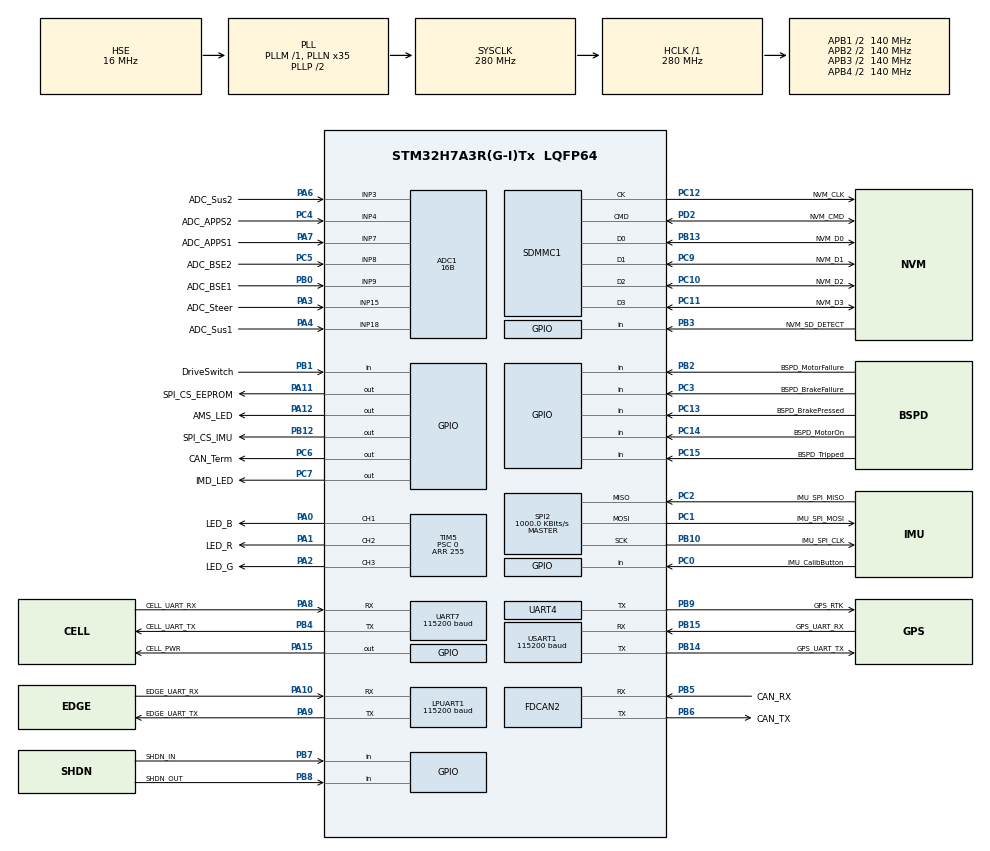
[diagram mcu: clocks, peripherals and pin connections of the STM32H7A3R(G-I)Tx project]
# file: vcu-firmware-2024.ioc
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ADC1.Channel-2\#ChannelRegularConversion=ADC_CHANNEL_7
ADC1.Channel-3\#ChannelRegularConversion=ADC_CHANNEL_4
ADC1.Channel-4\#ChannelRegularConversion=ADC_CHANNEL_9
ADC1.Channel-5\#ChannelRegularConversion=ADC_CHANNEL_8
ADC1.Channel-6\#ChannelRegularConversion=ADC_CHANNEL_15
ADC1.Channel-7\#ChannelRegularConversion=ADC_CHANNEL_18
ADC1.Channel-8\#ChannelRegularConversion=ADC_CHANNEL_3
ADC1.ClockPrescaler=ADC_CLOCK_ASYNC_DIV32
ADC1.ContinuousConvMode=ENABLE
ADC1.ConversionDataManagement=ADC_CONVERSIONDATA_DMA_CIRCULAR
ADC1.EOCSelection=ADC_EOC_SEQ_CONV
ADC1.NbrOfConversion=7
ADC1.NbrOfConversionFlag=1
ADC1.OffsetNumber-2\#ChannelRegularConversion=ADC_OFFSET_NONE
ADC1.OffsetNumber-3\#ChannelRegularConversion=ADC_OFFSET_NONE
ADC1.OffsetNumber-4\#ChannelRegularConversion=ADC_OFFSET_NONE
ADC1.OffsetNumber-5\#ChannelRegularConversion=ADC_OFFSET_NONE
ADC1.OffsetNumber-6\#ChannelRegularConversion=ADC_OFFSET_NONE
ADC1.OffsetNumber-7\#ChannelRegularConversion=ADC_OFFSET_NONE
ADC1.OffsetNumber-8\#ChannelRegularConversion=ADC_OFFSET_NONE
ADC1.OffsetSignedSaturation-2\#ChannelRegularConversion=DISABLE
ADC1.OffsetSignedSaturation-3\#ChannelRegularConversion=DISABLE
ADC1.OffsetSignedSaturation-4\#ChannelRegularConversion=DISABLE
ADC1.OffsetSignedSaturation-5\#ChannelRegularConversion=DISABLE
ADC1.OffsetSignedSaturation-6\#ChannelRegularConversion=DISABLE
ADC1.OffsetSignedSaturation-7\#ChannelRegularConversion=DISABLE
ADC1.OffsetSignedSaturation-8\#ChannelRegularConversion=DISABLE
ADC1.Overrun=ADC_OVR_DATA_PRESERVED
ADC1.OversamplingMode=ENABLE
ADC1.Rank-2\#ChannelRegularConversion=1
ADC1.Rank-3\#ChannelRegularConversion=2
ADC1.Rank-4\#ChannelRegularConversion=3
ADC1.Rank-5\#ChannelRegularConversion=4
ADC1.Rank-6\#ChannelRegularConversion=5
ADC1.Rank-7\#ChannelRegularConversion=6
ADC1.Rank-8\#ChannelRegularConversion=7
ADC1.Ratio=16
ADC1.Resolution=ADC_RESOLUTION_16B
ADC1.RightBitShift=ADC_RIGHTBITSHIFT_4
ADC1.SamplingTime-2\#ChannelRegularConversion=ADC_SAMPLETIME_1CYCLE_5
ADC1.SamplingTime-3\#ChannelRegularConversion=ADC_SAMPLETIME_1CYCLE_5
ADC1.SamplingTime-4\#ChannelRegularConversion=ADC_SAMPLETIME_1CYCLE_5
ADC1.SamplingTime-5\#ChannelRegularConversion=ADC_SAMPLETIME_1CYCLE_5
ADC1.SamplingTime-6\#ChannelRegularConversion=ADC_SAMPLETIME_1CYCLE_5
ADC1.SamplingTime-7\#ChannelRegularConversion=ADC_SAMPLETIME_1CYCLE_5
ADC1.SamplingTime-8\#ChannelRegularConversion=ADC_SAMPLETIME_1CYCLE_5
ADC1.master=1
Dma.ADC1.0.Direction=DMA_PERIPH_TO_MEMORY
Dma.ADC1.0.EventEnable=DISABLE
Dma.ADC1.0.FIFOMode=DMA_FIFOMODE_DISABLE
Dma.ADC1.0.Instance=DMA1_Stream0
Dma.ADC1.0.MemDataAlignment=DMA_MDATAALIGN_HALFWORD
Dma.ADC1.0.MemInc=DMA_MINC_ENABLE
Dma.ADC1.0.Mode=DMA_CIRCULAR
Dma.ADC1.0.PeriphDataAlignment=DMA_PDATAALIGN_HALFWORD
Dma.ADC1.0.PeriphInc=DMA_PINC_DISABLE
Dma.ADC1.0.Polarity=HAL_DMAMUX_REQ_GEN_RISING
Dma.ADC1.0.Priority=DMA_PRIORITY_LOW
Dma.ADC1.0.RequestNumber=1
Dma.ADC1.0.SignalID=NONE
Dma.ADC1.0.SyncEnable=DISABLE
Dma.ADC1.0.SyncPolarity=HAL_DMAMUX_SYNC_NO_EVENT
Dma.ADC1.0.SyncRequestNumber=1
Dma.ADC1.0.SyncSignalID=NONE
Dma.Request0=ADC1
Dma.Request1=USART1_RX
Dma.Request2=UART4_TX
Dma.Request3=UART7_RX
Dma.Request4=UART7_TX
Dma.UART4_TX.2.Direction=DMA_MEMORY_TO_PERIPH
Dma.UART4_TX.2.EventEnable=DISABLE
Dma.UART4_TX.2.FIFOMode=DMA_FIFOMODE_DISABLE
Dma.UART4_TX.2.Instance=DMA1_Stream2
Dma.UART4_TX.2.MemDataAlignment=DMA_MDATAALIGN_BYTE
Dma.UART4_TX.2.MemInc=DMA_MINC_ENABLE
Dma.UART4_TX.2.Mode=DMA_NORMAL
Dma.UART4_TX.2.PeriphDataAlignment=DMA_PDATAALIGN_BYTE
Dma.UART4_TX.2.PeriphInc=DMA_PINC_DISABLE
Dma.UART4_TX.2.Polarity=HAL_DMAMUX_REQ_GEN_RISING
Dma.UART4_TX.2.Priority=DMA_PRIORITY_LOW
Dma.UART4_TX.2.RequestNumber=1
Dma.UART4_TX.2.SignalID=NONE
Dma.UART4_TX.2.SyncEnable=DISABLE
Dma.UART4_TX.2.SyncPolarity=HAL_DMAMUX_SYNC_NO_EVENT
Dma.UART4_TX.2.SyncRequestNumber=1
Dma.UART4_TX.2.SyncSignalID=NONE
Dma.UART7_RX.3.Direction=DMA_PERIPH_TO_MEMORY
Dma.UART7_RX.3.EventEnable=DISABLE
Dma.UART7_RX.3.FIFOMode=DMA_FIFOMODE_DISABLE
Dma.UART7_RX.3.Instance=DMA1_Stream3
Dma.UART7_RX.3.MemDataAlignment=DMA_MDATAALIGN_BYTE
Dma.UART7_RX.3.MemInc=DMA_MINC_ENABLE
Dma.UART7_RX.3.Mode=DMA_NORMAL
Dma.UART7_RX.3.PeriphDataAlignment=DMA_PDATAALIGN_BYTE
Dma.UART7_RX.3.PeriphInc=DMA_PINC_DISABLE
Dma.UART7_RX.3.Polarity=HAL_DMAMUX_REQ_GEN_RISING
Dma.UART7_RX.3.Priority=DMA_PRIORITY_LOW
Dma.UART7_RX.3.RequestNumber=1
Dma.UART7_RX.3.SignalID=NONE
Dma.UART7_RX.3.SyncEnable=DISABLE
Dma.UART7_RX.3.SyncPolarity=HAL_DMAMUX_SYNC_NO_EVENT
Dma.UART7_RX.3.SyncRequestNumber=1
Dma.UART7_RX.3.SyncSignalID=NONE
Dma.UART7_TX.4.Direction=DMA_MEMORY_TO_PERIPH
Dma.UART7_TX.4.EventEnable=DISABLE
Dma.UART7_TX.4.FIFOMode=DMA_FIFOMODE_DISABLE
Dma.UART7_TX.4.Instance=DMA1_Stream4
Dma.UART7_TX.4.MemDataAlignment=DMA_MDATAALIGN_BYTE
Dma.UART7_TX.4.MemInc=DMA_MINC_ENABLE
Dma.UART7_TX.4.Mode=DMA_NORMAL
Dma.UART7_TX.4.PeriphDataAlignment=DMA_PDATAALIGN_BYTE
Dma.UART7_TX.4.PeriphInc=DMA_PINC_DISABLE
Dma.UART7_TX.4.Polarity=HAL_DMAMUX_REQ_GEN_RISING
Dma.UART7_TX.4.Priority=DMA_PRIORITY_LOW
Dma.UART7_TX.4.RequestNumber=1
Dma.UART7_TX.4.SignalID=NONE
Dma.UART7_TX.4.SyncEnable=DISABLE
Dma.UART7_TX.4.SyncPolarity=HAL_DMAMUX_SYNC_NO_EVENT
Dma.UART7_TX.4.SyncRequestNumber=1
Dma.UART7_TX.4.SyncSignalID=NONE
Dma.USART1_RX.1.Direction=DMA_PERIPH_TO_MEMORY
Dma.USART1_RX.1.EventEnable=DISABLE
Dma.USART1_RX.1.FIFOMode=DMA_FIFOMODE_DISABLE
Dma.USART1_RX.1.Instance=DMA1_Stream1
Dma.USART1_RX.1.MemDataAlignment=DMA_MDATAALIGN_BYTE
Dma.USART1_RX.1.MemInc=DMA_MINC_ENABLE
Dma.USART1_RX.1.Mode=DMA_NORMAL
Dma.USART1_RX.1.PeriphDataAlignment=DMA_PDATAALIGN_BYTE
Dma.USART1_RX.1.PeriphInc=DMA_PINC_DISABLE
Dma.USART1_RX.1.Polarity=HAL_DMAMUX_REQ_GEN_RISING
Dma.USART1_RX.1.Priority=DMA_PRIORITY_LOW
Dma.USART1_RX.1.RequestNumber=1
Dma.USART1_RX.1.SignalID=NONE
Dma.USART1_RX.1.SyncEnable=DISABLE
Dma.USART1_RX.1.SyncPolarity=HAL_DMAMUX_SYNC_NO_EVENT
Dma.USART1_RX.1.SyncRequestNumber=1
Dma.USART1_RX.1.SyncSignalID=NONE
FATFS.BSP.number=1
FATFS.USE_DMA_CODE_SD=0
FATFS._FS_EXFAT=1
FATFS._STRF_ENCODE=0
FATFS._USE_LFN=1
FATFS0.BSP.STBoard=false
FATFS0.BSP.api=Unknown
FATFS0.BSP.instance=PB3
FATFS0.BSP.ip=GPIO
FATFS0.BSP.mode=Input
FATFS0.BSP.name=Detect_SDIO
FATFS0.BSP.solution=PB3
FDCAN2.AutoRetransmission=DISABLE
FDCAN2.CalculateBaudRateNominal=1000000
FDCAN2.CalculateTimeBitNominal=1000
FDCAN2.CalculateTimeQuantumNominal=62.5
FDCAN2.ClockCalibrationCCU=DISABLE
FDCAN2.DataSyncJumpWidth=3
FDCAN2.DataTimeSeg1=13
FDCAN2.DataTimeSeg2=2
FDCAN2.NominalPrescaler=1
FDCAN2.NominalSyncJumpWidth=3
FDCAN2.NominalTimeSeg1=13
FDCAN2.NominalTimeSeg2=2
FDCAN2.RxFifo0ElmtsNbr=64
FDCAN2.TxFifoQueueElmtsNbr=16
LPUART1.BaudRate=115200
Mcu.Family=STM32H7
Mcu.Name=STM32H7A3R(G-I)Tx
Mcu.Package=LQFP64
NVIC.DMA1_Stream0_IRQn=true\:0\:0\:false\:false\:true\:false\:true\:true
NVIC.DMA1_Stream1_IRQn=true\:0\:0\:false\:false\:true\:false\:true\:true
NVIC.DMA1_Stream2_IRQn=true\:0\:0\:false\:false\:true\:false\:true\:true
NVIC.DMA1_Stream3_IRQn=true\:0\:0\:false\:false\:true\:false\:true\:true
NVIC.DMA1_Stream4_IRQn=true\:0\:0\:false\:false\:true\:false\:true\:true
NVIC.PriorityGroup=NVIC_PRIORITYGROUP_4
NVIC.SDMMC1_IRQn=true\:0\:0\:false\:false\:true\:true\:true\:true
NVIC.UART4_IRQn=true\:0\:0\:false\:false\:true\:true\:true\:true
NVIC.UART7_IRQn=true\:0\:0\:false\:false\:true\:true\:true\:true
NVIC.USART1_IRQn=true\:0\:0\:false\:false\:true\:true\:true\:true
PA0.GPIO_Label=LED_B
PA0.GPIO_ModeDefaultPP=GPIO_MODE_AF_OD
PA0.Signal=S_TIM5_CH1
PA1.GPIO_Label=LED_R
PA1.GPIO_ModeDefaultPP=GPIO_MODE_AF_OD
PA1.Signal=S_TIM5_CH2
PA10.GPIO_Label=EDGE_UART_RX
PA10.Mode=Asynchronous
PA10.Signal=LPUART1_RX
PA11.GPIO_Label=SPI_CS_EEPROM
PA11.GPIO_Speed=GPIO_SPEED_FREQ_VERY_HIGH
PA11.PinState=GPIO_PIN_SET
PA11.Signal=GPIO_Output
PA12.GPIO_Label=AMS_LED
PA12.Signal=GPIO_Output
PA13.GPIO_Label=JTMS
PA13.Mode=Serial_Wire
PA13.Signal=DEBUG_JTMS-SWDIO
PA14.GPIO_Label=JTCK
PA14.Mode=Serial_Wire
PA14.Signal=DEBUG_JTCK-SWCLK
PA15.GPIO_Label=CELL_PWR
PA15.PinState=GPIO_PIN_SET
PA15.Signal=GPIO_Output
PA2.GPIO_Label=LED_G
PA2.GPIO_ModeDefaultPP=GPIO_MODE_AF_OD
PA2.Signal=S_TIM5_CH3
PA3.GPIO_Label=ADC_Steer
PA3.Mode=IN15-Single-Ended
PA3.Signal=ADC1_INP15
PA4.GPIO_Label=ADC_Sus1
PA4.Signal=ADCx_INP18
PA6.GPIO_Label=ADC_Sus2
PA6.Signal=ADCx_INP3
PA7.GPIO_Label=ADC_APPS1
PA7.Signal=ADCx_INP7
PA8.GPIO_Label=CELL_UART_RX
PA8.GPIO_PuPd=GPIO_NOPULL
PA8.GPIO_Speed=GPIO_SPEED_FREQ_VERY_HIGH
PA8.Mode=Asynchronous
PA8.Signal=UART7_RX
PA9.GPIO_Label=EDGE_UART_TX
PA9.Mode=Asynchronous
PA9.Signal=LPUART1_TX
PB0.GPIO_Label=ADC_BSE1
PB0.Signal=ADCx_INP9
PB1.GPIO_Label=DriveSwitch
PB1.GPIO_PuPd=GPIO_PULLUP
PB1.Signal=GPIO_Input
PB10.GPIO_Label=IMU_SPI_CLK
PB10.Mode=Full_Duplex_Master
PB10.Signal=SPI2_SCK
PB12.GPIO_Label=SPI_CS_IMU
PB12.GPIO_Speed=GPIO_SPEED_FREQ_VERY_HIGH
PB12.PinState=GPIO_PIN_SET
PB12.Signal=GPIO_Output
PB13.GPIO_Label=NVM_D0
PB13.GPIO_PuPd=GPIO_PULLUP
PB13.Mode=SD_4_bits_Wide_bus
PB13.Signal=SDMMC1_D0
PB14.GPIO_Label=GPS_UART_TX
PB14.Mode=Asynchronous
PB14.Signal=USART1_TX
PB15.GPIO_Label=GPS_UART_RX
PB15.Mode=Asynchronous
PB15.Signal=USART1_RX
PB2.GPIO_Label=BSPD_MotorFailure
PB2.Signal=GPIO_Input
PB3.GPIO_Label=NVM_SD_DETECT
PB3.Signal=GPIO_Input
PB4.GPIO_Label=CELL_UART_TX
PB4.GPIO_PuPd=GPIO_NOPULL
PB4.GPIO_Speed=GPIO_SPEED_FREQ_VERY_HIGH
PB4.Mode=Asynchronous
PB4.Signal=UART7_TX
PB5.GPIO_Label=CAN_RX
PB5.Mode=FDCAN_Activate
PB5.Signal=FDCAN2_RX
PB6.GPIO_Label=CAN_TX
PB6.Mode=FDCAN_Activate
PB6.Signal=FDCAN2_TX
PB7.GPIO_Label=SHDN_IN
PB7.Signal=GPIO_Input
PB8.GPIO_Label=SHDN_OUT
PB8.Signal=GPIO_Input
PB9.GPIO_Label=GPS_RTK
PB9.Mode=Half_duplex(single_wire_mode)
PB9.Signal=UART4_TX
PC0.GPIO_Label=IMU_CalibButton
PC0.Signal=GPIO_Input
PC1.GPIO_Label=IMU_SPI_MOSI
PC1.Mode=Full_Duplex_Master
PC1.Signal=SPI2_MOSI
PC10.GPIO_Label=NVM_D2
PC10.GPIO_PuPd=GPIO_PULLUP
PC10.Mode=SD_4_bits_Wide_bus
PC10.Signal=SDMMC1_D2
PC11.GPIO_Label=NVM_D3
PC11.GPIO_PuPd=GPIO_PULLUP
PC11.Mode=SD_4_bits_Wide_bus
PC11.Signal=SDMMC1_D3
PC12.GPIO_Label=NVM_CLK
PC12.GPIO_PuPd=GPIO_PULLUP
PC12.Mode=SD_4_bits_Wide_bus
PC12.Signal=SDMMC1_CK
PC13.GPIO_Label=BSPD_BrakePressed
PC13.Signal=GPIO_Input
PC14-OSC32_IN.GPIO_Label=BSPD_MotorOn
PC14-OSC32_IN.Signal=GPIO_Input
PC15-OSC32_OUT.GPIO_Label=BSPD_Tripped
PC15-OSC32_OUT.Signal=GPIO_Input
PC2.GPIO_Label=IMU_SPI_MISO
PC2.Mode=Full_Duplex_Master
PC2.Signal=SPI2_MISO
PC3.GPIO_Label=BSPD_BrakeFailure
PC3.Signal=GPIO_Input
PC4.GPIO_Label=ADC_APPS2
PC4.Signal=ADCx_INP4
PC5.GPIO_Label=ADC_BSE2
PC5.Signal=ADCx_INP8
PC6.GPIO_Label=CAN_Term
PC6.Signal=GPIO_Output
PC7.GPIO_Label=IMD_LED
PC7.Signal=GPIO_Output
PC9.GPIO_Label=NVM_D1
PC9.GPIO_PuPd=GPIO_PULLUP
PC9.Mode=SD_4_bits_Wide_bus
PC9.Signal=SDMMC1_D1
PD2.GPIO_Label=NVM_CMD
PD2.GPIO_PuPd=GPIO_PULLUP
PD2.Mode=SD_4_bits_Wide_bus
PD2.Signal=SDMMC1_CMD
PH0-OSC_IN.Mode=HSE-External-Oscillator
PH0-OSC_IN.Signal=RCC_OSC_IN
PH1-OSC_OUT.Mode=HSE-External-Oscillator
PH1-OSC_OUT.Signal=RCC_OSC_OUT
ProjectManager.HeapSize=0x400
ProjectManager.StackSize=0x800
ProjectManager.TargetToolchain=STM32CubeIDE
RCC.ADCCLockSelection=RCC_ADCCLKSOURCE_PLL3
RCC.ADCFreq_Value=32000000
RCC.APB1Freq_Value=140000000
RCC.APB2Freq_Value=140000000
RCC.APB3Freq_Value=140000000
RCC.APB4Freq_Value=140000000
RCC.CDPPRE=RCC_APB3_DIV2
RCC.CDPPRE1=RCC_APB1_DIV2
RCC.CDPPRE2=RCC_APB2_DIV2
RCC.CortexFreq_Value=280000000
RCC.DIVM1=1
RCC.DIVM2=10
RCC.DIVM3=1
RCC.DIVN1=35
RCC.DIVN2=288
RCC.DIVN3=8
RCC.DIVP2=125
RCC.DIVQ2=125
RCC.DIVR1=35
RCC.DIVR3=4
RCC.FDCANCLockSelection=RCC_FDCANCLKSOURCE_HSE
RCC.HCLKFreq_Value=280000000
RCC.HSE_Timout=100
RCC.HSE_VALUE=16000000
RCC.HSIDiv=RCC_PLLSAIDIVR_4
RCC.LPUART1CLockSelection=RCC_LPUART1CLKSOURCE_PLL2
RCC.PLL2FRACN=0
RCC.PLL3FRACN=0
RCC.PLLFRACN=0
RCC.PLLSourceVirtual=RCC_PLLSOURCE_HSE
RCC.SPI123CLockSelection=RCC_SPI123CLKSOURCE_PLL3
RCC.SRDPPRE=RCC_APB4_DIV2
RCC.SYSCLKFreq_VALUE=280000000
RCC.SYSCLKSource=RCC_SYSCLKSOURCE_PLLCLK
RCC.SupplySource=PWR_LDO_SUPPLY
RCC.USART234578CLockSelection=RCC_USART234578CLKSOURCE_PLL2
RCC.USBFreq_Value=280000000
RCC.VDD_VALUE=3
SDMMC1.ClockDiv=28
SDMMC1.HardwareFlowControl=SDMMC_HARDWARE_FLOW_CONTROL_DISABLE
SH.ADCx_INP18.0=ADC1_INP18,IN18-Single-Ended
SH.ADCx_INP3.0=ADC1_INP3,IN3-Single-Ended
SH.ADCx_INP4.0=ADC1_INP4,IN4-Single-Ended
SH.ADCx_INP7.0=ADC1_INP7,IN7-Single-Ended
SH.ADCx_INP8.0=ADC1_INP8,IN8-Single-Ended
SH.ADCx_INP9.0=ADC1_INP9,IN9-Single-Ended
SH.S_TIM5_CH1.0=TIM5_CH1,PWM Generation1 CH1
SH.S_TIM5_CH2.0=TIM5_CH2,PWM Generation2 CH2
SH.S_TIM5_CH3.0=TIM5_CH3,PWM Generation3 CH3
SPI2.BaudRatePrescaler=SPI_BAUDRATEPRESCALER_64
SPI2.CLKPhase=SPI_PHASE_2EDGE
SPI2.CLKPolarity=SPI_POLARITY_HIGH
SPI2.CalculateBaudRate=1000.0 KBits/s
SPI2.DataSize=SPI_DATASIZE_8BIT
SPI2.Direction=SPI_DIRECTION_2LINES
SPI2.Mode=SPI_MODE_MASTER
SPI2.VirtualType=VM_MASTER
TIM2.AutoReloadPreload=TIM_AUTORELOAD_PRELOAD_ENABLE
TIM2.Period=1000
TIM2.Prescaler=280
TIM5.Channel-PWM\ Generation1\ CH1=TIM_CHANNEL_1
TIM5.Channel-PWM\ Generation2\ CH2=TIM_CHANNEL_2
TIM5.Channel-PWM\ Generation3\ CH3=TIM_CHANNEL_3
TIM5.OCPolarity_1=TIM_OCPOLARITY_LOW
TIM5.OCPolarity_2=TIM_OCPOLARITY_LOW
TIM5.OCPolarity_3=TIM_OCPOLARITY_LOW
TIM5.Period=255
TIM5.Prescaler=0
TIM5.Pulse-PWM\ Generation1\ CH1=0
UART4.Mode=MODE_TX
UART7.BaudRate=115200
UART7.ClockPrescaler=PRESCALER_DIV1
UART7.OneBitSampling=UART_ONE_BIT_SAMPLE_DISABLE
UART7.OverSampling=UART_OVERSAMPLING_8
UART7.RxPinLevelInvertParam=UART_ADVFEATURE_RXINV_DISABLE
UART7.TxPinLevelInvertParam=UART_ADVFEATURE_TXINV_DISABLE
USART1.BaudRate=115200
USART1.ClockPrescaler=PRESCALER_DIV1
USART1.OverrunDisableParam=ADVFEATURE_OVERRUN_DISABLE
USART1.SwapParam=ADVFEATURE_SWAP_DISABLE
USART1.VirtualMode-Asynchronous=VM_ASYNC
VP_FATFS_VS_SDIO.Mode=SDIO
VP_TIM2_VS_ClockSourceINT.Mode=Internal
VP_TIM5_VS_ClockSourceINT.Mode=Internal
board=custom

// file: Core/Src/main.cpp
/* USER CODE BEGIN Header */
/**
  ******************************************************************************
  * @file           : main.c
  * @brief          : Main program body
  ******************************************************************************
  * @attention
  *
  * Copyright (c) 2023 STMicroelectronics.
  * All rights reserved.
  *
  * This software is licensed under terms that can be found in the LICENSE file
  * in the root directory of this software component.
  * If no LICENSE file comes with this software, it is provided AS-IS.
  *
  ******************************************************************************
  */
/* USER CODE END Header */
#include "main.h"
#include "adc.h"
#include "dma.h"
#include "fatfs.h"
#include "fdcan.h"
#include "usart.h"
#include "sdmmc.h"
#include "spi.h"
#include "tim.h"
#include "gpio.h"

/* USER CODE BEGIN Includes */
#include "LonghornLib/clock.h"
#include "LonghornLib/led.h"
#include "inverter.h"
#include "LonghornLib/faults.h"
#include "gps.h"
#include "LonghornLib/angel_can.h"
#include "cellular.h"
#include "pdu.h"
#include "hvc.h"
#include "dash.h"
#include "drive_switch.h"
#include "indicators.h"
#include "all_imus.h"
#include "wheelspeeds.h"
#include "nvm.h"
#include "vcu.h"
#include "usb.h"
#include "bevo.h"

/* USER CODE END Includes */

void SystemClock_Config(void);
void PeriphCommonClock_Config(void);

/* USER CODE BEGIN 0 */
VcuParameters vcuCoreParameters;
VcuOutput vcuCoreOutput;
AnalogVoltages analogVoltages;
DriveSwitchState driveSwitchState;
HvcStatus hvcStatus;
PduStatus pduStatus;
InverterStatus inverterStatus;
WheelMagnetValues wheelMagnetValues;
ImuData imuData;
GpsData gpsData;

bool didWrite = false;

/* USER CODE END 0 */

int main(void)
{

  /* MCU Configuration--------------------------------------------------------*/

  /* Reset of all peripherals, Initializes the Flash interface and the Systick. */
  HAL_Init();

  /* Configure the system clock */
  SystemClock_Config();

/* Configure the peripherals common clocks */
  PeriphCommonClock_Config();

  /* Initialize all configured peripherals */
  MX_GPIO_Init();
  MX_DMA_Init();
  MX_UART7_Init();
  MX_TIM2_Init();
  MX_ADC1_Init();
  MX_FATFS_Init();
  MX_FDCAN2_Init();
  MX_SDMMC1_SD_Init();
  MX_TIM5_Init();
  MX_USART1_UART_Init();
  MX_UART4_Init();
  MX_LPUART1_UART_Init();
  MX_SPI2_Init();
  /* USER CODE BEGIN 2 */
  led_init();
  clock_init();
  can_init(&hfdcan2);

  vcu_init(vcuCoreParameters);
  inverter_init();
  dash_init();
  hvc_init();
  pdu_init();
  wheelspeeds_init();
  allImus_init(&hspi2);
  gps_init();
  indicators_init();
  // cellular_init();
  nvm_init(&vcuCoreParameters);
  bevo_init(); //

  /* USER CODE END 2 */

  /* Infinite loop */
  while (1) {

    /* USER CODE BEGIN 3 */
    float deltaTime = clock_getDeltaTime();
    if(didWrite) led_rainbow(deltaTime);

    adc_periodic(&analogVoltages);
    driveSwitch_periodic(&driveSwitchState);
    hvc_periodic(&hvcStatus, &vcuCoreOutput);
    pdu_periodic(&pduStatus, &vcuCoreOutput);
    wheelspeeds_periodic(&wheelMagnetValues);
    allImus_periodic(&imuData);
    gps_periodic(&gpsData);
    bevo_send(&gpsData);

    // TODO why is front right not working??
    wheelMagnetValues.fr = wheelMagnetValues.fl;

    // println(analogVoltages.apps1);
    // println(analogVoltages.apps2);
    // println(vcuCoreOutput.telemetryApps1);
    // println(vcuCoreOutput.telemetryApps2);

    vcu_execute(analogVoltages, driveSwitchState, hvcStatus, pduStatus, inverterStatus,
                wheelMagnetValues, imuData, gpsData, vcuCoreOutput, deltaTime);

    inverter_periodic(&inverterStatus, &vcuCoreOutput, deltaTime);
    indicators_periodic(&hvcStatus, &vcuCoreOutput);
    dash_periodic(&pduStatus, &hvcStatus, &inverterStatus, &gpsData, &vcuCoreOutput);
    can_periodic(deltaTime);

    // println(cellular_debugMessage);

    nvm_periodic(&vcuCoreParameters, &vcuCoreOutput, &hvcStatus,
                 &pduStatus, &inverterStatus, &analogVoltages,
                 &wheelMagnetValues, &imuData, &gpsData);
    // cellular_periodic(&vcuCoreParameters, &vcuCoreOutput, &hvcStatus,
    //                   &pduStatus, &inverterStatus, &analogVoltages,
    //                   &wheelMagnetValues, &imuData, &gpsData);
  }
  /* USER CODE END 3 */
}

void SystemClock_Config(void)
{
  RCC_OscInitTypeDef RCC_OscInitStruct = {0};
  RCC_ClkInitTypeDef RCC_ClkInitStruct = {0};

  /*AXI clock gating */
  RCC->CKGAENR = 0xFFFFFFFF;

  /** Supply configuration update enable
  */
  HAL_PWREx_ConfigSupply(PWR_LDO_SUPPLY);

  /** Configure the main internal regulator output voltage
  */
  __HAL_PWR_VOLTAGESCALING_CONFIG(PWR_REGULATOR_VOLTAGE_SCALE0);

  while(!__HAL_PWR_GET_FLAG(PWR_FLAG_VOSRDY)) {}

  /** Initializes the RCC Oscillators according to the specified parameters
  * in the RCC_OscInitTypeDef structure.
  */
  RCC_OscInitStruct.OscillatorType = RCC_OSCILLATORTYPE_HSE;
  RCC_OscInitStruct.HSEState = RCC_HSE_ON;
  RCC_OscInitStruct.PLL.PLLState = RCC_PLL_ON;
  RCC_OscInitStruct.PLL.PLLSource = RCC_PLLSOURCE_HSE;
  RCC_OscInitStruct.PLL.PLLM = 1;
  RCC_OscInitStruct.PLL.PLLN = 35;
  RCC_OscInitStruct.PLL.PLLP = 2;
  RCC_OscInitStruct.PLL.PLLQ = 2;
  RCC_OscInitStruct.PLL.PLLR = 35;
  RCC_OscInitStruct.PLL.PLLRGE = RCC_PLL1VCIRANGE_3;
  RCC_OscInitStruct.PLL.PLLVCOSEL = RCC_PLL1VCOWIDE;
  RCC_OscInitStruct.PLL.PLLFRACN = 0;
  if (HAL_RCC_OscConfig(&RCC_OscInitStruct) != HAL_OK)
  {
    Error_Handler();
  }

  /** Initializes the CPU, AHB and APB buses clocks
  */
  RCC_ClkInitStruct.ClockType = RCC_CLOCKTYPE_HCLK|RCC_CLOCKTYPE_SYSCLK
                              |RCC_CLOCKTYPE_PCLK1|RCC_CLOCKTYPE_PCLK2
                              |RCC_CLOCKTYPE_D3PCLK1|RCC_CLOCKTYPE_D1PCLK1;
  RCC_ClkInitStruct.SYSCLKSource = RCC_SYSCLKSOURCE_PLLCLK;
  RCC_ClkInitStruct.SYSCLKDivider = RCC_SYSCLK_DIV1;
  RCC_ClkInitStruct.AHBCLKDivider = RCC_HCLK_DIV1;
  RCC_ClkInitStruct.APB3CLKDivider = RCC_APB3_DIV2;
  RCC_ClkInitStruct.APB1CLKDivider = RCC_APB1_DIV2;
  RCC_ClkInitStruct.APB2CLKDivider = RCC_APB2_DIV2;
  RCC_ClkInitStruct.APB4CLKDivider = RCC_APB4_DIV2;

  if (HAL_RCC_ClockConfig(&RCC_ClkInitStruct, FLASH_LATENCY_6) != HAL_OK)
  {
    Error_Handler();
  }
}

void PeriphCommonClock_Config(void)
{
  RCC_PeriphCLKInitTypeDef PeriphClkInitStruct = {0};

  /** Initializes the peripherals clock
  */
  PeriphClkInitStruct.PeriphClockSelection = RCC_PERIPHCLK_ADC|RCC_PERIPHCLK_SPI2
                              |RCC_PERIPHCLK_UART7|RCC_PERIPHCLK_UART4
                              |RCC_PERIPHCLK_LPUART1;
  PeriphClkInitStruct.PLL2.PLL2M = 10;
  PeriphClkInitStruct.PLL2.PLL2N = 288;
  PeriphClkInitStruct.PLL2.PLL2P = 125;
  PeriphClkInitStruct.PLL2.PLL2Q = 125;
  PeriphClkInitStruct.PLL2.PLL2R = 2;
  PeriphClkInitStruct.PLL2.PLL2RGE = RCC_PLL2VCIRANGE_0;
  PeriphClkInitStruct.PLL2.PLL2VCOSEL = RCC_PLL2VCOMEDIUM;
  PeriphClkInitStruct.PLL2.PLL2FRACN = 0;
  PeriphClkInitStruct.PLL3.PLL3M = 1;
  PeriphClkInitStruct.PLL3.PLL3N = 8;
  PeriphClkInitStruct.PLL3.PLL3P = 2;
  PeriphClkInitStruct.PLL3.PLL3Q = 2;
  PeriphClkInitStruct.PLL3.PLL3R = 4;
  PeriphClkInitStruct.PLL3.PLL3RGE = RCC_PLL3VCIRANGE_3;
  PeriphClkInitStruct.PLL3.PLL3VCOSEL = RCC_PLL3VCOWIDE;
  PeriphClkInitStruct.PLL3.PLL3FRACN = 0;
  PeriphClkInitStruct.Spi123ClockSelection = RCC_SPI123CLKSOURCE_PLL3;
  PeriphClkInitStruct.Usart234578ClockSelection = RCC_USART234578CLKSOURCE_PLL2;
  PeriphClkInitStruct.Lpuart1ClockSelection = RCC_LPUART1CLKSOURCE_PLL2;
  PeriphClkInitStruct.AdcClockSelection = RCC_ADCCLKSOURCE_PLL3;
  if (HAL_RCCEx_PeriphCLKConfig(&PeriphClkInitStruct) != HAL_OK)
  {
    Error_Handler();
  }
}

void Error_Handler(void)
{
  /* USER CODE BEGIN Error_Handler_Debug */
  /* User can add his own implementation to report the HAL error return state */
  __disable_irq();
  while (1) {
    led_set(0.2f, 0.0f, 0.0f);
    for (volatile int i = 0; i < 10000000; i++); // faster for some reason?
    led_off();
    for (volatile int j = 0; j < 3000000; j++);
  }
  /* USER CODE END Error_Handler_Debug */
}
